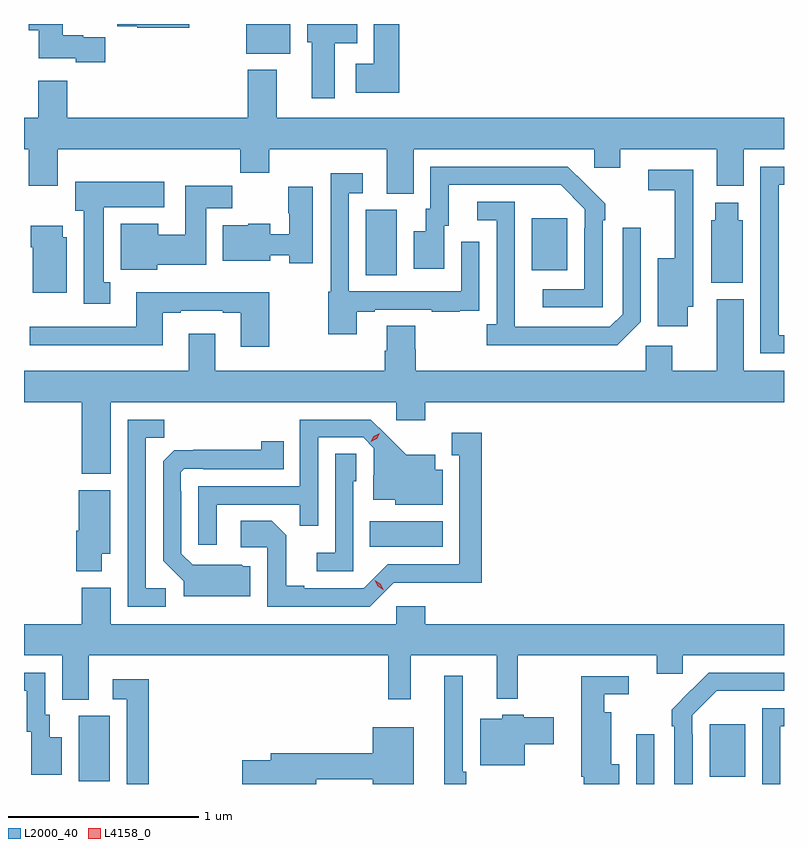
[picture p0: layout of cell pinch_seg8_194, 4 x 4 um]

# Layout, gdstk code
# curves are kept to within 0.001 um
import gdstk
lib = gdstk.Library(unit=1e-6, precision=1e-09)
def R(c, l, rs):  # rectangles x0, y0, x1, y1
    for r in rs: c.add(gdstk.rectangle(r[:2], r[2:], *l))
def P(c, l, *ps):  # polygons
    for p in ps: c.add(gdstk.Polygon(p, *l))
L2000_40 = (2000, 40)
L4158_0 = (4158, 0)

pinch_seg8_194 = lib.new_cell('pinch_seg8_194')
R(pinch_seg8_194, L2000_40, [(639.159,1157.114,639.255,1157.377), (636.224,1157.128,636.388,1157.472), (639.545,1157.153,639.733,1157.428), (637.756,1158.362,638.14,1158.496), (637.736,1159.792,637.9,1160.136), (638.609,1159.817,638.797,1160.092), (637.106,1160.957,637.339,1161.114)])
P(pinch_seg8_194, L2000_40, [(637.913,1161.114),(637.778,1161.114),(637.778,1160.905),(637.683,1160.905),(637.683,1160.753),(637.913,1160.753)],
  [(636.808,1161.114),(636.427,1161.114),(636.427,1161.102),(636.532,1161.102),(636.532,1161.094),(636.808,1161.094)],
  [(637.573,1161.014),(637.69,1161.014),(637.69,1161.114),(637.427,1161.114),(637.427,1161.018),(637.451,1161.018),(637.451,1160.724),(637.573,1160.724)],
  [(636.365,1161.044),(636.249,1161.044),(636.249,1161.056),(636.142,1161.056),(636.142,1161.114),(635.963,1161.114),(635.963,1161.08),(636.014,1161.08),(636.014,1160.933),(636.21,1160.933),(636.21,1160.914),(636.365,1160.914)],
  [(637.987,1160.456),(638.937,1160.456),(638.937,1160.358),(639.076,1160.358),(639.076,1160.456),(639.584,1160.456),(639.584,1160.262),(639.724,1160.262),(639.724,1160.456),(639.937,1160.456),(639.937,1160.62),(637.267,1160.62),(637.267,1160.872),(637.115,1160.872),(637.115,1160.62),(636.164,1160.62),(636.164,1160.815),(636.011,1160.815),(636.011,1160.62),(635.937,1160.62),(635.937,1160.456),(635.963,1160.456),(635.963,1160.262),(636.115,1160.262),(636.115,1160.456),(637.075,1160.456),(637.075,1160.332),(637.227,1160.332),(637.227,1160.456),(637.847,1160.456),(637.847,1160.221),(637.987,1160.221)],
  [(638.982,1160.081),(638.997,1160.081),(638.997,1160.169),(638.8,1160.364),(638.076,1160.364),(638.076,1160.142),(638.051,1160.142),(638.051,1160.023),(637.988,1160.023),(637.988,1159.827),(638.149,1159.827),(638.149,1160.052),(638.173,1160.052),(638.173,1160.268),(638.761,1160.268),(638.889,1160.139),(638.889,1160.039),(638.886,1160.039),(638.886,1159.719),(638.667,1159.719),(638.667,1159.623),(638.982,1159.623)],
  [(639.937,1159.475),(639.909,1159.475),(639.909,1160.268),(639.937,1160.268),(639.937,1160.364),(639.813,1160.364),(639.813,1159.38),(639.937,1159.38)],
  [(639.43,1159.625),(639.459,1159.625),(639.459,1160.346),(639.222,1160.346),(639.222,1160.238),(639.362,1160.238),(639.362,1159.882),(639.272,1159.882),(639.272,1159.524),(639.43,1159.524)],
  [(637.687,1159.599),(637.783,1159.599),(637.783,1159.611),(638.083,1159.611),(638.083,1159.599),(638.231,1159.599),(638.231,1159.605),(638.333,1159.605),(638.333,1159.714),(638.334,1159.714),(638.334,1159.969),(638.238,1159.969),(638.238,1159.707),(637.647,1159.707),(637.647,1160.223),(637.72,1160.223),(637.72,1160.329),(637.551,1160.329),(637.551,1159.704),(637.539,1159.704),(637.539,1159.482),(637.687,1159.482)],
  [(636.391,1159.754),(636.358,1159.754),(636.358,1160.15),(636.676,1160.15),(636.676,1160.284),(636.206,1160.284),(636.206,1160.13),(636.251,1160.13),(636.251,1159.641),(636.391,1159.641)],
  [(636.639,1159.847),(636.895,1159.847),(636.895,1160.144),(637.034,1160.144),(637.034,1160.263),(636.785,1160.263),(636.785,1160.005),(636.643,1160.005),(636.643,1160.062),(636.446,1160.062),(636.446,1159.82),(636.639,1159.82)],
  [(637.456,1160.257),(637.327,1160.257),(637.327,1160.118),(637.334,1160.118),(637.334,1160.008),(637.234,1160.008),(637.234,1160.062),(637.116,1160.062),(637.116,1160.056),(636.983,1160.056),(636.983,1159.868),(637.234,1159.868),(637.234,1159.898),(637.334,1159.898),(637.334,1159.856),(637.456,1159.856)],
  [(639.183,1159.547),(639.183,1160.041),(639.087,1160.041),(639.087,1159.587),(639.021,1159.521),(638.521,1159.521),(638.52,1160.178),(638.322,1160.178),(638.322,1160.082),(638.424,1160.082),(638.424,1159.534),(638.373,1159.534),(638.373,1159.424),(639.06,1159.424)],
  [(639.721,1160.082),(639.697,1160.082),(639.697,1160.173),(639.575,1160.173),(639.575,1160.082),(639.554,1160.082),(639.554,1159.751),(639.721,1159.751)],
  [(636.163,1159.992),(636.142,1159.992),(636.142,1160.053),(635.972,1160.053),(635.972,1159.94),(635.984,1159.94),(635.984,1159.7),(636.163,1159.7)],
  [(637.227,1159.702),(636.786,1159.702),(636.786,1159.701),(636.527,1159.701),(636.527,1159.521),(635.967,1159.521),(635.967,1159.424),(636.667,1159.424),(636.667,1159.593),(636.763,1159.593),(636.763,1159.605),(636.983,1159.605),(636.983,1159.593),(637.079,1159.593),(637.079,1159.416),(637.227,1159.416)],
  [(636.394,1159.124),(637.896,1159.124),(637.896,1159.029),(638.048,1159.029),(638.048,1159.124),(639.937,1159.124),(639.937,1159.288),(639.724,1159.288),(639.724,1159.666),(639.584,1159.666),(639.584,1159.288),(639.349,1159.288),(639.349,1159.42),(639.21,1159.42),(639.21,1159.288),(638,1159.288),(638,1159.401),(637.995,1159.401),(637.995,1159.526),(637.847,1159.526),(637.847,1159.394),(637.835,1159.394),(637.835,1159.288),(636.943,1159.288),(636.943,1159.483),(636.803,1159.483),(636.803,1159.288),(635.937,1159.288),(635.937,1159.124),(636.242,1159.124),(636.242,1158.746),(636.394,1158.746)],
  [(636.682,1158.144),(636.579,1158.144),(636.579,1158.937),(636.675,1158.937),(636.675,1159.032),(636.483,1159.032),(636.483,1158.048),(636.682,1158.048)],
  [(636.951,1158.585),(637.387,1158.585),(637.387,1158.472),(637.485,1158.472),(637.485,1158.939),(637.722,1158.939),(637.779,1158.882),(637.779,1158.74),(637.775,1158.74),(637.775,1158.611),(637.89,1158.611),(637.89,1158.584),(638.14,1158.584),(638.14,1158.769),(638.101,1158.769),(638.101,1158.847),(637.949,1158.847),(637.762,1159.032),(637.389,1159.032),(637.389,1158.681),(636.855,1158.681),(636.855,1158.372),(636.951,1158.372)],
  [(637.884,1158.174),(638.347,1158.173),(638.347,1158.964),(638.189,1158.964),(638.189,1158.843),(638.228,1158.843),(638.228,1158.27),(637.851,1158.27),(637.725,1158.144),(637.411,1158.144),(637.411,1158.157),(637.317,1158.157),(637.317,1158.424),(637.241,1158.5),(637.077,1158.5),(637.077,1158.36),(637.218,1158.36),(637.218,1158.048),(637.758,1158.048)],
  [(637.129,1158.259),(637.091,1158.259),(637.082,1158.268),(636.825,1158.267),(636.765,1158.327),(636.765,1158.656),(636.762,1158.656),(636.762,1158.756),(636.78,1158.774),(636.88,1158.774),(636.88,1158.771),(637.304,1158.771),(637.304,1158.919),(637.186,1158.919),(637.186,1158.872),(636.728,1158.871),(636.669,1158.812),(636.669,1158.29),(636.779,1158.18),(636.779,1158.101),(637.129,1158.101)],
  [(637.671,1158.708),(637.686,1158.708),(637.686,1158.851),(637.575,1158.851),(637.575,1158.331),(637.479,1158.331),(637.479,1158.234),(637.671,1158.234)],
  [(636.346,1158.326),(636.391,1158.326),(636.391,1158.661),(636.224,1158.661),(636.224,1158.447),(636.212,1158.447),(636.212,1158.233),(636.346,1158.233)],
  [(636.277,1157.792),(637.855,1157.792),(637.855,1157.559),(637.973,1157.559),(637.973,1157.792),(638.426,1157.792),(638.426,1157.564),(638.536,1157.564),(638.536,1157.792),(639.266,1157.792),(639.266,1157.694),(639.405,1157.694),(639.405,1157.792),(639.937,1157.792),(639.937,1157.956),(638.048,1157.956),(638.048,1158.049),(637.896,1158.049),(637.896,1157.956),(636.394,1157.956),(636.394,1158.148),(636.242,1158.148),(636.242,1157.956),(635.937,1157.956),(635.937,1157.792),(636.137,1157.792),(636.137,1157.557),(636.277,1157.557)],
  [(636.136,1157.359),(636.073,1157.359),(636.073,1157.478),(636.048,1157.478),(636.048,1157.7),(635.937,1157.7),(635.937,1157.604),(635.951,1157.604),(635.951,1157.388),(635.975,1157.388),(635.975,1157.163),(636.136,1157.163)],
  [(639.456,1157.375),(639.453,1157.375),(639.453,1157.475),(639.582,1157.604),(639.937,1157.604),(639.937,1157.7),(639.542,1157.7),(639.345,1157.505),(639.345,1157.417),(639.36,1157.417),(639.36,1157.114),(639.456,1157.114)],
  [(638.264,1157.179),(638.247,1157.179),(638.247,1157.683),(638.15,1157.683),(638.15,1157.114),(638.264,1157.114)],
  [(639.07,1157.218),(639.028,1157.218),(639.028,1157.491),(638.992,1157.491),(638.992,1157.586),(639.121,1157.586),(639.121,1157.682),(638.87,1157.682),(638.87,1157.151),(638.882,1157.151),(638.882,1157.114),(639.07,1157.114)],
  [(636.593,1157.665),(636.405,1157.665),(636.405,1157.559),(636.477,1157.559),(636.477,1157.114),(636.593,1157.114)],
  [(639.918,1157.418),(639.937,1157.418),(639.937,1157.514),(639.822,1157.514),(639.822,1157.114),(639.918,1157.114)],
  [(638.572,1157.324),(638.725,1157.324),(638.725,1157.466),(638.568,1157.466),(638.568,1157.479),(638.454,1157.479),(638.454,1157.458),(638.337,1157.458),(638.337,1157.214),(638.572,1157.214)],
  [(637.474,1157.14),(637.772,1157.14),(637.772,1157.114),(637.987,1157.114),(637.987,1157.413),(637.772,1157.413),(637.772,1157.276),(637.235,1157.276),(637.235,1157.24),(637.086,1157.24),(637.086,1157.114),(637.474,1157.114)])
P(pinch_seg8_194, L4158_0, [(637.83,1158.134),(637.798,1158.154),(637.782,1158.187),(637.782,1158.187),(637.782,1158.187),(637.813,1158.168),(637.83,1158.135),(637.83,1158.134)],
  [(637.762,1158.916),(637.762,1158.916),(637.779,1158.945),(637.81,1158.96),(637.81,1158.96),(637.81,1158.96),(637.793,1158.931),(637.762,1158.916)])

lib.write_gds('pinch_seg8_194.gds')
